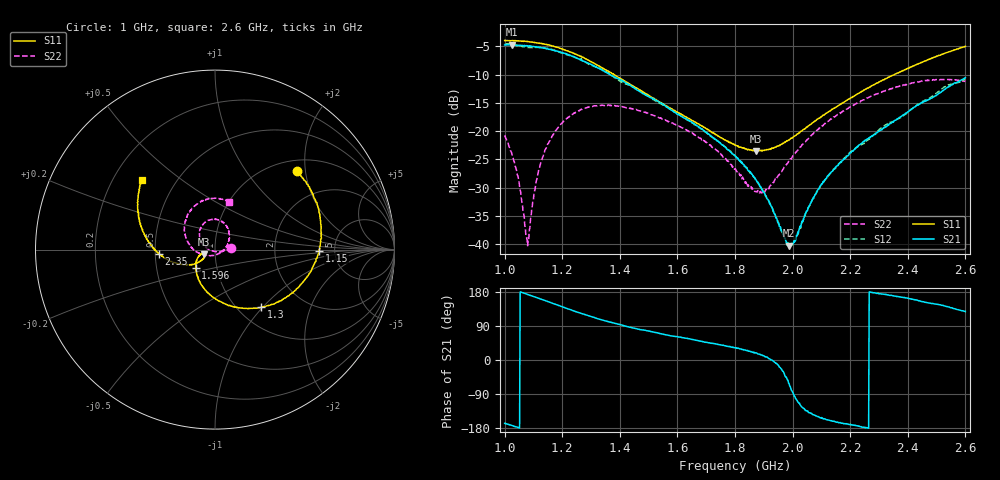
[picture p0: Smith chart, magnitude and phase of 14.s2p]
!EI41,AV3629A,1.0.34
!Calibration ON (Full Solt 2-Port(Omit Isolation))
!Measurements: S11 S21 S12 S22
!Friday, August 03, 2012  13 : 37
#Hz  S  MA  R 50.000
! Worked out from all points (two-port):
!   801 points, 1 GHz to 2.6 GHz, reference 50 ohm
!   highest |S21| = -4.69 dB at 1.026 GHz (marker M1); lowest = -40.3 dB at 1.988 GHz (marker M2)
!   |S21| within 3 dB of the highest: start of sweep to 1.277 GHz
!   lowest |S11| = -23.6 dB at 1.872 GHz (marker M3), VSWR 1.14, Z = 44.2 - j2.42 ohm
!   |S11| at or under -10 dB: 1.38 GHz to 2.354 GHz (974 MHz wide, 52.2 % of centre)
!   |S22| runs from -40.3 to -10.8 dB; largest |S21 - S12| = 0.024
!   S11 on the Smith chart (normalised r, x): 1 GHz: 1.24, +1.80; 1.15 GHz: 3.75, -0.06; 1.3 GHz: 1.27, -0.98; 1.596 GHz: 0.79, -0.17; 2.35 GHz: 0.52, -0.03; 2.6 GHz: 0.32, +0.36
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1e9  0.6318 43.6  0.5779 -167.2  0.5888 -166.0  0.09177 6.7
1.026e9  0.6326 36.8  0.583 -173.0  0.5905 -174.1  0.06168 -4.0
1.048e9  0.6261 31.1  0.5734 -178.2  0.5754 179.6  0.0379 -16.2
1.08e9  0.6187 21.3  0.5638 172.8  0.5478 172.7  0.009669 -106.8
1.116e9  0.6 10.3  0.5546 163.6  0.5502 164.8  0.04214 174.4
1.15e9  0.5792 -0.5  0.5326 154.2  0.5392 154.1  0.07709 156.7
1.2e9  0.5311 -17.5  0.494 140.7  0.4876 140.1  0.1178 137.0
1.268e9  0.4528 -40.5  0.4236 122.5  0.4223 122.1  0.1553 115.5
1.3e9  0.4108 -51.4  0.3894 114.8  0.384 115.3  0.1649 106.5
1.412e9  0.2823 -87.2  0.2756 91.0  0.2671 91.8  0.1632 79.3
1.534e9  0.1823 -121.0  0.182 70.8  0.1783 71.1  0.1316 55.5
1.596e9  0.1485 -136.2  0.1435 62.1  0.1454 61.5  0.1129 44.7
1.8e9  0.07531 -161.7  0.06065 32.7  0.06035 31.8  0.04653 -5.5
1.872e9  0.06641 -155.8  0.0374 19.2  0.03694 17.7  0.02906 -55.9
1.91e9  0.06859 -149.4  0.02565 7.8  0.02543 8.2  0.03042 -91.0
1.988e9  0.08349 -142.5  0.009662 -62.1  0.009601 -64.8  0.05401 -142.4
2.008e9  0.09083 -141.7  0.01073 -96.1  0.01128 -97.5  0.06312 -150.5
2.068e9  0.1177 -142.8  0.02469 -142.9  0.02478 -142.9  0.09304 -168.4
2.194e9  0.1907 -153.8  0.06109 -169.6  0.06325 -169.1  0.1595 163.1
2.334e9  0.2987 -173.5  0.1134 171.6  0.1173 170.7  0.2329 134.2
2.35e9  0.3129 -175.6  0.1199 169.6  0.1213 168.3  0.2383 130.7
2.6e9  0.5611 136.6  0.2967 128.1  0.2928 130.0  0.2746 73.4
